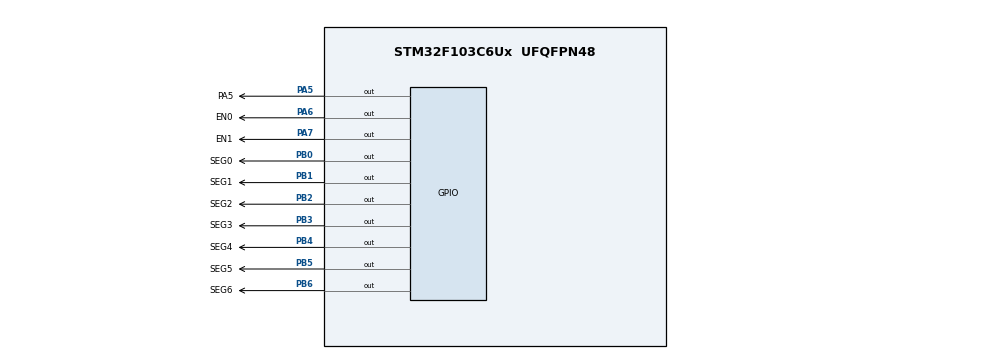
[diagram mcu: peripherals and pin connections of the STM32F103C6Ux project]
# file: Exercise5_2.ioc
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Mcu.Family=STM32F1
Mcu.Name=STM32F103C6Ux
Mcu.Package=UFQFPN48
NVIC.PriorityGroup=NVIC_PRIORITYGROUP_4
NVIC.TIM2_IRQn=true\:0\:0\:false\:false\:true\:true\:true
PA5.GPIO_Label=PA5
PA5.Signal=GPIO_Output
PA6.GPIO_Label=EN0
PA6.Signal=GPIO_Output
PA7.GPIO_Label=EN1
PA7.Signal=GPIO_Output
PB0.GPIO_Label=SEG0
PB0.Signal=GPIO_Output
PB0.Stacked=true
PB1.GPIO_Label=SEG1
PB1.Signal=GPIO_Output
PB2.GPIO_Label=SEG2
PB2.Signal=GPIO_Output
PB3.GPIO_Label=SEG3
PB3.Signal=GPIO_Output
PB4.GPIO_Label=SEG4
PB4.Signal=GPIO_Output
PB5.GPIO_Label=SEG5
PB5.Signal=GPIO_Output
PB6.GPIO_Label=SEG6
PB6.Signal=GPIO_Output
ProjectManager.HeapSize=0x200
ProjectManager.StackSize=0x400
ProjectManager.TargetToolchain=STM32CubeIDE
RCC.APB1Freq_Value=8000000
RCC.APB2Freq_Value=8000000
TIM2.Period=10
TIM2.Prescaler=7999
VP_SYS_VS_ND.Mode=No_Debug
VP_TIM2_VS_ClockSourceINT.Mode=Internal
board=custom

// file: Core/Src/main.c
/* USER CODE BEGIN Header */
/**
  ******************************************************************************
  * @file           : main.c
  * @brief          : Main program body
  ******************************************************************************
  * @attention
  *
  * <h2><center>&copy; Copyright (c) 2022 STMicroelectronics.
  * All rights reserved.</center></h2>
  *
  * This software component is licensed by ST under BSD 3-Clause license,
  * the "License"; You may not use this file except in compliance with the
  * License. You may obtain a copy of the License at:
  *                        opensource.org/licenses/BSD-3-Clause
  *
  ******************************************************************************
  */
/* USER CODE END Header */
#include "main.h"

TIM_HandleTypeDef htim2;

void SystemClock_Config(void);
static void MX_GPIO_Init(void);
static void MX_TIM2_Init(void);

/* USER CODE BEGIN 0 */
void display7SEG(int num, GPIO_TypeDef* GPIOx, uint16_t start_index){
	__IO uint16_t temp;
	switch(num){
	case 0:
		temp = 0b1000000;
		break;
	case 1:
		temp = 0b1111001;
		break;
	case 2:
		temp = 0b0100100;
		break;
	case 3:
		temp = 0b0110000;
		break;
	case 4:
		temp = 0b0011001;
		break;
	case 5:
		temp = 0b0010010;
		break;
	case 6:
		temp = 0b0000010;
		break;
	case 7:
		temp = 0b1111000;
		break;
	case 8:
		temp = 0b0;
		break;
	case 9:
		temp = 0b0010000;
		break;
	default:
		temp = !0b0;
		break;
	}
	uint16_t bitmask = 0b1111111 << start_index ;
	GPIOx->ODR = (GPIOx->ODR & ~bitmask) | (temp << start_index);
}
/* USER CODE END 0 */

int main(void)
{

  /* MCU Configuration--------------------------------------------------------*/

  /* Reset of all peripherals, Initializes the Flash interface and the Systick. */
  HAL_Init();

  /* Configure the system clock */
  SystemClock_Config();

  /* Initialize all configured peripherals */
  MX_GPIO_Init();
  MX_TIM2_Init();
  HAL_TIM_Base_Start_IT(&htim2);

  /* Infinite loop */
  /* USER CODE BEGIN WHILE */
	HAL_GPIO_WritePin(GPIOA, GPIO_PIN_5,0);
	HAL_GPIO_WritePin(GPIOA, GPIO_PIN_6,0);
	HAL_GPIO_WritePin(GPIOA, GPIO_PIN_7,1);
  while (1)
  {
    /* USER CODE END WHILE */
//	  HAL_TIM_PeriodElapsedCallback(&htim2);
  }
}

void SystemClock_Config(void)
{
  RCC_OscInitTypeDef RCC_OscInitStruct = {0};
  RCC_ClkInitTypeDef RCC_ClkInitStruct = {0};

  /** Initializes the RCC Oscillators according to the specified parameters
  * in the RCC_OscInitTypeDef structure.
  */
  RCC_OscInitStruct.OscillatorType = RCC_OSCILLATORTYPE_HSI;
  RCC_OscInitStruct.HSIState = RCC_HSI_ON;
  RCC_OscInitStruct.HSICalibrationValue = RCC_HSICALIBRATION_DEFAULT;
  RCC_OscInitStruct.PLL.PLLState = RCC_PLL_NONE;
  if (HAL_RCC_OscConfig(&RCC_OscInitStruct) != HAL_OK)
  {
    Error_Handler();
  }
  /** Initializes the CPU, AHB and APB buses clocks
  */
  RCC_ClkInitStruct.ClockType = RCC_CLOCKTYPE_HCLK|RCC_CLOCKTYPE_SYSCLK
                              |RCC_CLOCKTYPE_PCLK1|RCC_CLOCKTYPE_PCLK2;
  RCC_ClkInitStruct.SYSCLKSource = RCC_SYSCLKSOURCE_HSI;
  RCC_ClkInitStruct.AHBCLKDivider = RCC_SYSCLK_DIV1;
  RCC_ClkInitStruct.APB1CLKDivider = RCC_HCLK_DIV1;
  RCC_ClkInitStruct.APB2CLKDivider = RCC_HCLK_DIV1;

  if (HAL_RCC_ClockConfig(&RCC_ClkInitStruct, FLASH_LATENCY_0) != HAL_OK)
  {
    Error_Handler();
  }
}

static void MX_TIM2_Init(void)
{

  TIM_ClockConfigTypeDef sClockSourceConfig = {0};
  TIM_MasterConfigTypeDef sMasterConfig = {0};

  htim2.Instance = TIM2;
  htim2.Init.Prescaler = 7999;
  htim2.Init.CounterMode = TIM_COUNTERMODE_UP;
  htim2.Init.Period = 10;
  htim2.Init.ClockDivision = TIM_CLOCKDIVISION_DIV1;
  htim2.Init.AutoReloadPreload = TIM_AUTORELOAD_PRELOAD_DISABLE;
  if (HAL_TIM_Base_Init(&htim2) != HAL_OK)
  {
    Error_Handler();
  }
  sClockSourceConfig.ClockSource = TIM_CLOCKSOURCE_INTERNAL;
  if (HAL_TIM_ConfigClockSource(&htim2, &sClockSourceConfig) != HAL_OK)
  {
    Error_Handler();
  }
  sMasterConfig.MasterOutputTrigger = TIM_TRGO_RESET;
  sMasterConfig.MasterSlaveMode = TIM_MASTERSLAVEMODE_DISABLE;
  if (HAL_TIMEx_MasterConfigSynchronization(&htim2, &sMasterConfig) != HAL_OK)
  {
    Error_Handler();
  }

}

static void MX_GPIO_Init(void)
{
  GPIO_InitTypeDef GPIO_InitStruct = {0};

  /* GPIO Ports Clock Enable */
  __HAL_RCC_GPIOA_CLK_ENABLE();
  __HAL_RCC_GPIOB_CLK_ENABLE();

  /*Configure GPIO pin Output Level */
  HAL_GPIO_WritePin(GPIOA, PA5_Pin|EN0_Pin|EN1_Pin, GPIO_PIN_RESET);

  /*Configure GPIO pin Output Level */
  HAL_GPIO_WritePin(GPIOB, SEG0_Pin|SEG1_Pin|SEG2_Pin|SEG3_Pin
                          |SEG4_Pin|SEG5_Pin|SEG6_Pin, GPIO_PIN_RESET);

  /*Configure GPIO pins : PA5_Pin EN0_Pin EN1_Pin */
  GPIO_InitStruct.Pin = PA5_Pin|EN0_Pin|EN1_Pin;
  GPIO_InitStruct.Mode = GPIO_MODE_OUTPUT_PP;
  GPIO_InitStruct.Pull = GPIO_NOPULL;
  GPIO_InitStruct.Speed = GPIO_SPEED_FREQ_LOW;
  HAL_GPIO_Init(GPIOA, &GPIO_InitStruct);

  /*Configure GPIO pins : SEG0_Pin SEG1_Pin SEG2_Pin SEG3_Pin
                           SEG4_Pin SEG5_Pin SEG6_Pin */
  GPIO_InitStruct.Pin = SEG0_Pin|SEG1_Pin|SEG2_Pin|SEG3_Pin
                          |SEG4_Pin|SEG5_Pin|SEG6_Pin;
  GPIO_InitStruct.Mode = GPIO_MODE_OUTPUT_PP;
  GPIO_InitStruct.Pull = GPIO_NOPULL;
  GPIO_InitStruct.Speed = GPIO_SPEED_FREQ_LOW;
  HAL_GPIO_Init(GPIOB, &GPIO_InitStruct);

}

/* USER CODE BEGIN 4 */
int counter1 = 0;
int counter2 = 100;
int num = 2;
void HAL_TIM_PeriodElapsedCallback(TIM_HandleTypeDef *htim){
	counter1--;
	if (counter1 <=0){
		counter1 = 50;
		HAL_GPIO_TogglePin(GPIOA, GPIO_PIN_6);
		HAL_GPIO_TogglePin(GPIOA, GPIO_PIN_7);
		num = 3 - num;
	}
	display7SEG(num, GPIOB, 0);

	counter2--;
	if (counter2<=0){
		counter2 = 50;
		HAL_GPIO_TogglePin(GPIOA, GPIO_PIN_5);
	}
}
/* USER CODE END 4 */

void Error_Handler(void)
{
  __disable_irq();
  while (1)
  {
  }
}

/************************ (C) COPYRIGHT STMicroelectronics *****END OF FILE****/
